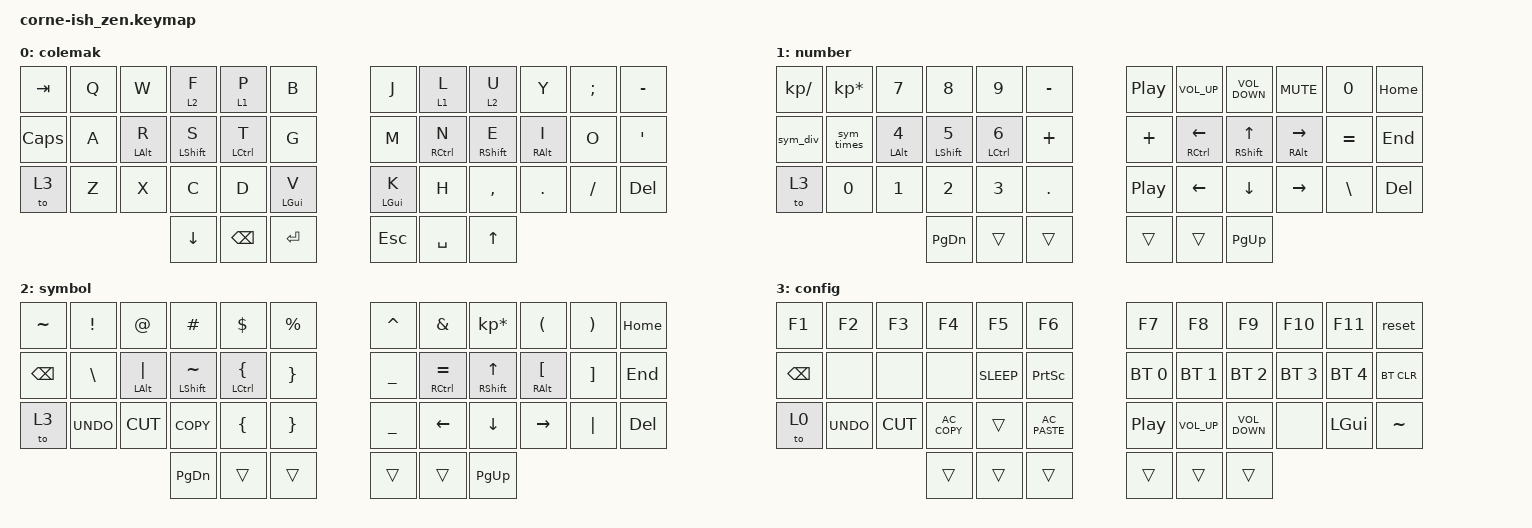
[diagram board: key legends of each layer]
/*
*
* Copyright (c) 2021 Darryl deHaan
* SPDX-License-Identifier: MIT
*
*/

#include <behaviors.dtsi>
#include <dt-bindings/zmk/keys.h>
#include <dt-bindings/zmk/bt.h>

#define COLEMAK 0
#define NUMBER 1
#define SYMBOL 2
#define CONFIG 3


/ {
    behaviors {
        hm: homerow_mods {
            compatible = "zmk,behavior-hold-tap";
            label = "homerow mods";
            #binding-cells = <2>;
            tapping-term-ms = <150>;
            flavor = "tap-preferred";
            bindings = <&kp>, <&kp>;
        };
    };
    macros {
        sym_times: sym_times {
            label = "symboltimes";
            compatible = "zmk,behavior-macro";
            #binding-cells = <0>;
            bindings
            = <&macro_press   &kp LALT>
             , <&macro_tap     &kp KP_N0 &kp KP_N2 &kp KP_N1 &kp KP_N5>
            , <&macro_release &kp LALT>
    ;
        };
        sym_div: sym_div {
            label = "symboldiv";
            compatible = "zmk,behavior-macro";
            #binding-cells = <0>;
            bindings
            = <&macro_press   &kp LALT>
             , <&macro_tap     &kp KP_N0 &kp KP_N2 &kp KP_N4 &kp KP_N7>
            , <&macro_release &kp LALT>
    ;
        };
    };
};

/ {
        keymap {
                compatible = "zmk,keymap";

                default_layer {
                        label = "colemak";
// -----------------------------------------------------------------------------------------
// |  TAB |  Q  |  W  |  E  |  R  |  T  |   |  Y  |  U   |  I  |  O  |  P  | BKSP |
// | CTRL |  A  |  S  |  D  |  F  |  G  |   |  H  |  J   |  K  |  L  |  ;  |  '   |
// | SHFT |  Z  |  X  |  C  |  V  |  B  |   |  N  |  M   |  ,  |  .  |  /  | ESC  |
//                    | GUI | LWR | SPC |   | ENT | RSE  | ALT |
                        bindings = <
   &kp TAB   &kp Q &kp W &lt 2 F &lt 1 P &kp B                  &kp J &lt 1 L  &lt 2 U     &kp Y   &kp SEMI  &kp MINUS
   &kp CAPS &kp A &hm LALT R &hm LSHFT S &hm LCTRL T &kp G    &kp M &hm RCTRL N  &hm RSHFT E   &hm RALT I   &kp O   &kp SQT
   &to 3 &kp Z &kp X &kp C &kp D &hm LGUI V                 &hm LGUI K &kp H  &kp COMMA &kp DOT &kp FSLH  &kp DEL
                  &kp DOWN &kp BKSP &kp RET                  &kp ESC &kp SPACE &kp UP
                        >;
                };
                number_layer {
                        label = "number";
// -----------------------------------------------------------------------------------------
// |  TAB |  1  |  2  |  3  |  4  |  5  |   |  6  |  7  |  8  |  9  |  0  | BKSP |
// | BTCLR| BT1 | BT2 | BT3 | BT4 | BT5 |   | LFT | DWN |  UP | RGT |     |      |
// | SHFT |     |     |     |     |     |   |     |     |     |     |     |      |
//                    | GUI |     | SPC |   | ENT |     | ALT |
                        bindings = <
   &kp KP_SLASH    &kp KP_MULTIPLY   &kp N7    &kp N8     &kp N9   &kp MINUS        &kp C_PLAY_PAUSE   &kp C_VOLUME_UP  &kp C_VOLUME_DOWN    &kp C_MUTE  &kp N0 &kp HOME
   &sym_div    &sym_times &hm LALT N4  &hm LSHFT N5  &hm LCTRL N6    &kp PLUS       &kp PLUS         &hm RCTRL LEFT  &hm RSHFT UP &hm RALT RIGHT &kp EQUAL &kp END
   &to 3         &kp N0  &kp N1       &kp N2        &kp N3          &kp DOT         &kp C_PLAY_PAUSE  &kp LEFT       &kp DOWN &kp RIGHT &kp BSLH &kp DEL 
                          	        &kp PG_DN    &trans       &trans                            &trans   &trans   &kp PG_UP 
                        >;
                };

                symbol_layer {
                        label = "symbol";
// -----------------------------------------------------------------------------------------
// |  TAB |  !  |  @  |  #  |  $  |  %  |   |  ^  |  &  |  *  |  (  |  )  | BKSP |
// | CTRL |     |     |     |     |     |   |  -  |  =  |  [  |  ]  |  \  |  `   |
// | SHFT |     |     |     |     |     |   |  _  |  +  |  {  |  }  | "|" |  ~   |
//                    | GUI |     | SPC |   | ENT |     | ALT |
                        bindings = <
   &kp TILDE  &kp EXCL &kp AT &kp HASH &kp DLLR &kp PRCNT                       &kp CARET &kp AMPS  &kp KP_MULTIPLY &kp LPAR &kp RPAR &kp HOME
   &kp BKSP &kp BSLH  &hm LALT PIPE &hm LSHFT TILDE &hm LCTRL LBRC  &kp RBRC     &kp UNDER &hm RCTRL EQUAL &hm RSHFT UP &hm RALT LBKT &kp RBKT &kp END 
   &to 3 &kp K_UNDO &kp K_CUT &kp K_COPY &kp LBRC &kp RBRC                          &kp UNDER &kp LEFT  &kp DOWN     &kp RIGHT &kp PIPE &kp DEL
                    	     &kp PG_DN     &trans       &trans                              &trans   &trans   &kp PG_UP
                        >;
                };
                    config_layer {
                        label = "config";
                        bindings = <
   &kp F1      &kp F2  &kp F3   &kp F4    &kp F5 &kp F6                        &kp F7   &kp F8   &kp F9 &kp F10   &kp F11 &reset
   &kp BKSP &none &none &none &kp C_SLEEP &kp PSCRN                                  &bt BT_SEL 0 &bt BT_SEL 1 &bt BT_SEL 2 &bt BT_SEL 3 &bt BT_SEL 4  &bt BT_CLR
  &to 0 &kp K_UNDO &kp K_CUT &kp C_AC_COPY &trans &kp C_AC_PASTE          &kp C_PLAY_PAUSE  &kp C_VOLUME_UP  &kp C_VOLUME_DOWN &none &kp LGUI &kp TILDE
                    	     &trans     &trans       &trans                              &trans   &trans   &trans
                        >;
                };
        };
};
